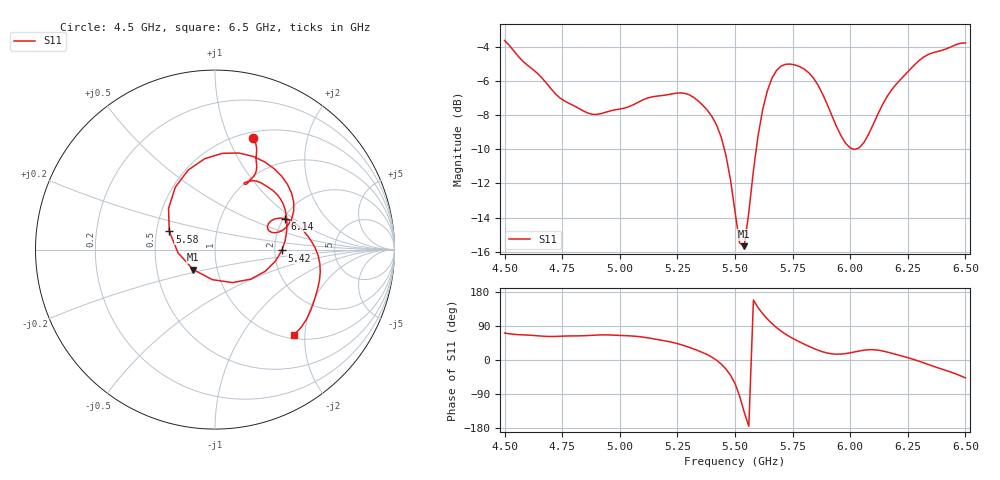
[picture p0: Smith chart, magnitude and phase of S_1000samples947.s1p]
! TOUCHSTONE file generated by CST MICROWAVE STUDIO
! Date and time: Sat Oct 29 21:36:40 2022
! Project name: L.cst
! Parameters = {Di=1.27; Epsilon_r=1.56; InnerDiameter=1.27; Length=2; Lf=10; Lg=60; OuterConductorThickness=0.2921; OuterDiameter=3.6; Wf=3; Wp=41.2; de=1.5; df=6.8; g=0.8; gx=0.547473; gy=2.83816; h=2.34; hf=1.524; px=11.1701; py=11.6272; w=9.7; wx=10.6226; wy=8.78903}
! Header version: 2018
! Port assignment regex: !\s*Touchstone port\s*([0-9]+)\s*=\s*(CST MWS port|CST DS port)\s*([0-9]+|Zmin|Zmax)\s*\(\"(.*)\"\)(\s*mode\s*([0-9]+))?.*
! Touchstone port assignment:
! Touchstone port 1 = CST MWS port 1 ("")
# GHz S DB R 50
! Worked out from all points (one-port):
!   101 points, 4.5 GHz to 6.5 GHz, reference 50 ohm
!   lowest |S11| = -15.7 dB at 5.54 GHz (marker M1), VSWR 1.39, Z = 38.3 - j8.76 ohm
!   |S11| at or under -10 dB: 5.454 GHz to 5.592 GHz (138.3 MHz wide, 2.5 % of centre); 6.017327 GHz to 6.022279 GHz (4.951 MHz wide, 0.0822 % of centre)
!   S11 on the Smith chart (normalised r, x): 4.5 GHz: 0.56, +1.24; 5.42 GHz: 2.19, -0.02; 5.58 GHz: 0.58, +0.13; 6.14 GHz: 2.04, +0.86; 6.5 GHz: 1.07, -1.76
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4.5  -3.63 71.1
4.66  -5.79 63.1
4.76  -7.17 63.1
4.88  -7.95 65.1
5  -7.64 64.9
5.12  -7.00 58.6
5.26  -6.70 41.6
5.34  -7.16 24.7
5.42  -8.58 -0.7
5.46  -10.31 -23.3
5.5  -13.64 -62.0
5.52  -15.48 -94.9
5.54  -15.67 -137.5
5.58  -11.25 158.3
5.62  -7.69 122.3
5.66  -5.85 96.4
5.7  -5.13 76.2
5.76  -5.06 53.9
5.82  -5.52 36.3
5.86  -6.24 26.0
5.92  -8.01 16.2
6  -9.92 19.0
6.06  -9.59 25.9
6.14  -7.39 23.8
6.26  -5.32 4.4
6.36  -4.34 -16.4
6.44  -3.99 -32.6
6.5  -3.77 -47.2
